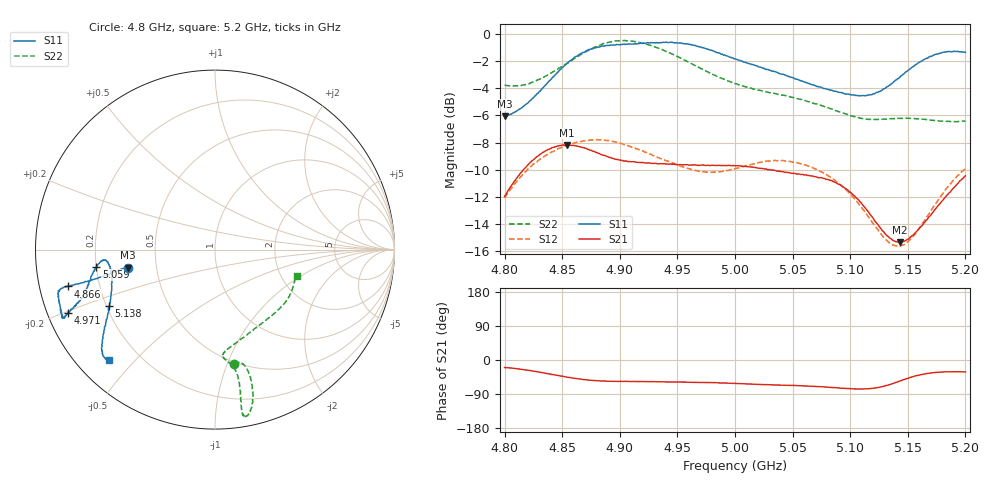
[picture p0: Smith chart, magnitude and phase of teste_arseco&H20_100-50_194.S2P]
! Network Analyzer HP8722D
! Hewlett-Packard
! Data name: Linha & Wilkinson
! Saver's name: Rodrigo Anjos
! Comments: Teste da utilização de aquisição
! continua pelo VNA HP8722D
! Time and date: 6/5/2025 14:11
!  Frequency  S11  S21  S12  S22
# HZ  S  MA R 50
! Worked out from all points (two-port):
!   401 points, 4.8 GHz to 5.2 GHz, reference 50 ohm
!   highest |S21| = -8.17 dB at 4.854 GHz (marker M1); lowest = -15.3 dB at 5.143 GHz (marker M2)
!   |S21| within 3 dB of the highest: 4.806 GHz to 5.092 GHz (286.6 MHz wide, 5.79 % of centre); 5.191434 GHz to end of sweep
!   lowest |S11| = -6.1 dB at 4.8 GHz (marker M3), VSWR 2.98, Z = 17 - j4.55 ohm
!   |S11| at or under -10 dB: nowhere
!   |S22| runs from -6.5 to -0.5 dB; largest |S21 - S12| = 0.62
!   S11 on the Smith chart (normalised r, x): 4.8 GHz: 0.34, -0.09; 4.866 GHz: 0.09, -0.12; 4.971 GHz: 0.06, -0.21; 5.059 GHz: 0.20, -0.07; 5.138 GHz: 0.21, -0.24; 5.2 GHz: 0.09, -0.42
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4.8e9  0.4971 -168.3  0.2526 -19.8  0.2491 -141.1  0.6472 -80.3
4.828e9  0.6014 -167.2  0.3534 -30.9  0.3382 -145.0  0.6747 -75.4
4.854e9  0.7773 -166.0  0.3904 -45.1  0.3893 -150.0  0.7787 -74.7
4.866e9  0.845 -166.0  0.3835 -50.4  0.4018 -152.0  0.8373 -75.3
4.867e9  0.8503 -166.0  0.3828 -50.9  0.4025 -152.2  0.844 -75.5
4.883e9  0.8958 -165.2  0.3612 -55.2  0.4077 -154.8  0.9093 -77.2
4.899e9  0.9129 -163.0  0.344 -56.6  0.3975 -156.8  0.9429 -79.1
4.934e9  0.9281 -156.6  0.3329 -57.5  0.3505 -155.8  0.8821 -80.5
4.971e9  0.8913 -156.7  0.329 -59.4  0.3113 -146.6  0.7441 -79.7
5e9  0.809 -159.1  0.3275 -61.9  0.3198 -137.3  0.656 -81.3
5.035e9  0.7248 -165.4  0.3145 -66.0  0.3429 -134.5  0.6026 -85.7
5.059e9  0.6684 -171.7  0.3042 -68.3  0.3314 -136.1  0.5718 -84.4
5.067e9  0.6506 -173.2  0.3002 -69.2  0.3229 -136.9  0.557 -82.6
5.087e9  0.6145 -174.6  0.284 -73.3  0.2889 -138.7  0.5228 -74.8
5.103e9  0.5968 -171.5  0.2549 -76.1  0.2497 -138.8  0.4966 -65.1
5.117e9  0.5966 -164.9  0.2177 -75.5  0.2089 -135.1  0.4846 -55.0
5.134e9  0.6465 -154.4  0.178 -65.2  0.1704 -120.6  0.4868 -43.3
5.138e9  0.6676 -151.9  0.1736 -61.1  0.1671 -115.5  0.4872 -40.8
5.143e9  0.6927 -149.2  0.1713 -55.7  0.1657 -108.8  0.4891 -37.9
5.154e9  0.7558 -144.6  0.1814 -44.3  0.1794 -95.0  0.4889 -32.4
5.171e9  0.828 -139.5  0.219 -34.0  0.227 -81.7  0.4815 -24.8
5.2e9  0.8549 -133.8  0.3006 -31.6  0.3191 -77.0  0.4771 -17.6
